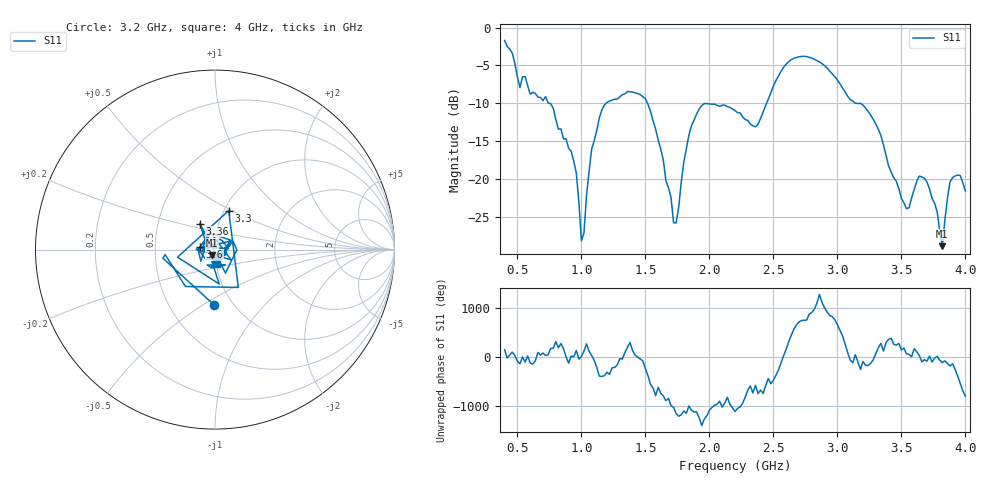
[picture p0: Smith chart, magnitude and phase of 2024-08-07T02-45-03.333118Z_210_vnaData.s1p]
!Created with skrf (http://scikit-rf.org).
# Hz S RI R 50.0
!freq ReS11 ImS11
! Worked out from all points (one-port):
!   181 points, 400 MHz to 4 GHz, reference 50 ohm
!   lowest |S11| = -28.9 dB at 3.82 GHz (marker M1), VSWR 1.07, Z = 48.3 - j3.1 ohm
!   |S11| at or under -10 dB: 747.8 MHz to 1.194 GHz (446 MHz wide, 45.9 % of centre); 1.516 GHz to 2.447 GHz (930.9 MHz wide, 47 % of centre); 3.141 GHz to end of sweep
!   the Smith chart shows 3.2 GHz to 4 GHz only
!   S11 on the Smith chart (normalised r, x): 3.2 GHz: 0.82, -0.55; 3.3 GHz: 1.05, +0.48; 3.36 GHz: 0.81, +0.24; 3.6 GHz: 0.84, +0.03; 4 GHz: 1.01, -0.17
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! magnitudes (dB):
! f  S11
! 400 MHz  -1.7
! 520 MHz  -7.9
! 720 MHz  -9.1
! 860 MHz  -14.7
! 960 MHz  -19.2
! 1 GHz  -28.2
! 1.08 GHz  -16.1
! 1.14 GHz  -11.9
! 1.3 GHz  -9.2
! 1.5 GHz  -9.4
! 1.64 GHz  -17.5
! 1.72 GHz  -25.8
! 1.76 GHz  -23.8
! 1.84 GHz  -14.2
! 1.92 GHz  -10.8
! 2.2 GHz  -11.0
! 2.36 GHz  -13.1
! 2.66 GHz  -4.1
! 3.1 GHz  -9.5
! 3.2 GHz  -10.3
! 3.3 GHz  -12.8
! 3.36 GHz  -15.5
! 3.56 GHz  -23.8
! 3.6 GHz  -21.4
! 3.7 GHz  -20.4
! 3.82 GHz  -28.9
! 3.88 GHz  -20.4
! 4 GHz  -21.6
